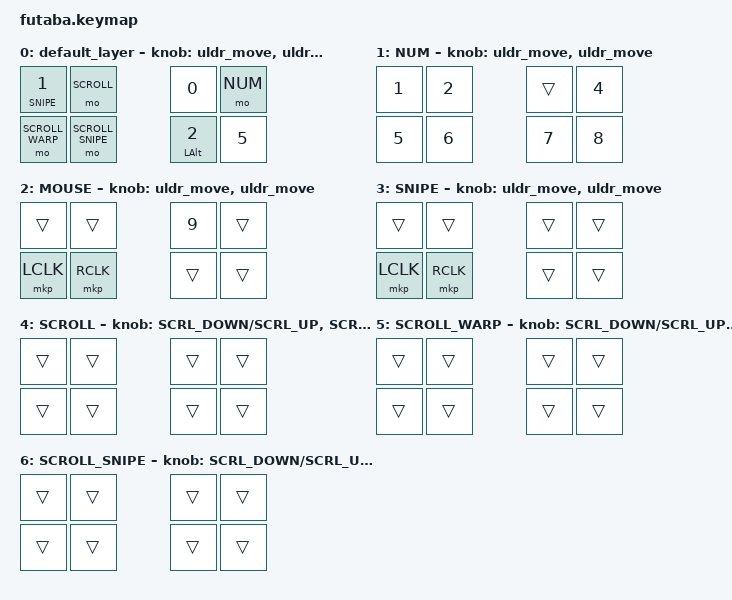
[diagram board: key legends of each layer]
#include <behaviors.dtsi>
#include <dt-bindings/zmk/bt.h>

#define ZMK_POINTING_DEFAULT_MOVE_VAL 800
#define ZMK_POINTING_DEFAULT_SCRL_VAL 120
#include <dt-bindings/zmk/pointing.h>

#include <input/processors.dtsi>
#include <zephyr/dt-bindings/input/input-event-codes.h>

#define NUM 1
#define MOUSE 2
#define SNIPE 3
#define SCROLL 4
#define SCROLL_WARP 5
#define SCROLL_SNIPE 6

&mmv {
    delay-ms = <0>;
    trigger-period-ms = <10>;
    time-to-max-speed-ms = <0>;
    acceleration-exponent = <1>;
};

&msc {
    delay-ms = <0>;
    trigger-period-ms = <10>;
    time-to-max-speed-ms = <0>;
    acceleration-exponent = <0>;
};

&mmv_input_listener {
    precision {
        layers = <SNIPE>;
        input-processors = <&zip_xy_scaler 1 4>;
    };
};

/ {
    input_processors {
        zip_wheel_scaler: zip_wheel_scaler {
            compatible = "zmk,input-processor-scaler";
            #input-processor-cells = <2>;
            type = <INPUT_EV_REL>;
            codes = <INPUT_REL_WHEEL>;
            track-remainders;
        };
        zip_hwheel_scaler: zip_hwheel_scaler {
            compatible = "zmk,input-processor-scaler";
            #input-processor-cells = <2>;
            type = <INPUT_EV_REL>;
            codes = <INPUT_REL_HWHEEL>;
            track-remainders;
        };
    };
};

&msc_input_listener {
    warp {
        layers = <SCROLL_WARP>;
        input-processors = <&zip_wheel_scaler 4 1>, <&zip_hwheel_scaler 4 1>;
    };
    precision {
        layers = <SCROLL_SNIPE>;
        input-processors = <&zip_wheel_scaler 1 4>, <&zip_hwheel_scaler 1 4>;
    };
};

&trackball_listener {
    scroller {
        layers = <SCROLL>;
        input-processors = <&zip_xy_to_scroll_mapper>;
    };
    scroller_warp {
        layers = <SCROLL_WARP>;
        input-processors = <&zip_xy_to_scroll_mapper>, <&zip_wheel_scaler 4 1>, <&zip_hwheel_scaler 4 1>;
    };
    scroller_precision {
        layers = <SCROLL_SNIPE>;
        input-processors = <&zip_xy_to_scroll_mapper>, <&zip_wheel_scaler 1 4>, <&zip_hwheel_scaler 1 4>;
    };
};

/ {
    behaviors {
        rot_kp: sensor_rotate_kp {
            compatible = "zmk,behavior-sensor-rotate-var";
            #sensor-binding-cells = <2>;
            bindings = <&kp>, <&kp>;
        };

        mouse_click: mouse_button_kp {
            compatible = "zmk,behavior-sensor-rotate-var";
            #sensor-binding-cells = <2>;
            bindings = <&mkp>, <&mkp>;
        };

        mouse_mv: mouse_cursor_move {
            compatible = "zmk,behavior-sensor-rotate-var";
            #sensor-binding-cells = <2>;
            bindings = <&mmv>, <&mmv>;
            tap-ms = <10>;
        };

        mouse_scrl: mouse_wheel_scrl {
            compatible = "zmk,behavior-sensor-rotate-var";
            #sensor-binding-cells = <2>;
            bindings = <&msc>, <&msc>;
            tap-ms = <10>;
        };

        ul_move: move_up_left {
            compatible = "zmk,behavior-mod-morph";
            label = "MOVE UP LEFT";
            #binding-cells = <0>;
            bindings = <&mmv MOVE_UP>, <&mmv MOVE_LEFT>;
            mods = <MOD_LALT>;
        };

        dr_move: move_down_right {
            compatible = "zmk,behavior-mod-morph";
            label = "MOVE DOWN RIGHT";
            #binding-cells = <0>;
            bindings = <&mmv MOVE_DOWN>, <&mmv MOVE_RIGHT>;
            mods = <MOD_LALT>;
        };

        uldr_move: move_up_left_down_right {
            compatible = "zmk,behavior-sensor-rotate";
            #sensor-binding-cells = <0>;
            bindings = <&ul_move>, <&dr_move>;
            tap-ms = <10>;
        };
    };

    keymap {
        compatible = "zmk,keymap";

        default_layer {
            bindings = <
                &lt SNIPE N1    &mo SCROLL        &kp N0       &mo NUM
                &mo SCROLL_WARP &mo SCROLL_SNIPE  &mt LALT N2  &kp N5
            >;
            sensor-bindings = <&uldr_move>, <&uldr_move>;
        };

        NUM {
            bindings = <
                &kp N1 &kp N2 &trans &kp N4
                &kp N5 &kp N6 &kp N7 &kp N8
            >;
            sensor-bindings = <&uldr_move>, <&uldr_move>;
        };

        MOUSE {
            bindings = <
                &trans &trans &kp N9 &trans 
                &mkp LCLK &mkp RCLK  &trans &trans
            >;
            sensor-bindings = <&uldr_move>, <&uldr_move>;
        };

        SNIPE {
            bindings = <
                &trans &trans &trans &trans 
                &mkp LCLK &mkp RCLK  &trans &trans
            >;
            sensor-bindings = <&uldr_move>, <&uldr_move>;
        };

        SCROLL {
            bindings = <
                &trans &trans &trans &trans 
                &trans &trans &trans &trans 
            >;
            sensor-bindings = <&mouse_scrl SCRL_DOWN SCRL_UP>, <&mouse_scrl SCRL_UP SCRL_DOWN>;
        };

        SCROLL_WARP {
            bindings = <
                &trans &trans &trans &trans 
                &trans &trans &trans &trans 
            >;
            sensor-bindings = <&mouse_scrl SCRL_DOWN SCRL_UP>, <&mouse_scrl SCRL_UP SCRL_DOWN>;
        };

        SCROLL_SNIPE {
            bindings = <
                &trans &trans &trans &trans 
                &trans &trans &trans &trans 
            >;
            sensor-bindings = <&mouse_scrl SCRL_DOWN SCRL_UP>, <&mouse_scrl SCRL_UP SCRL_DOWN>;
        };
    };
};
